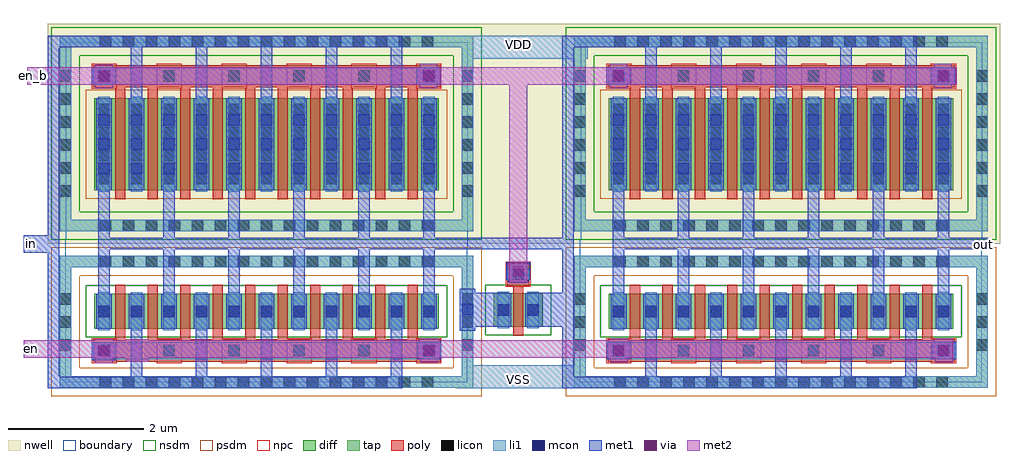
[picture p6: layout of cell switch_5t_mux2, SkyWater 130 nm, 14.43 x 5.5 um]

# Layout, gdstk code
from math import pi, radians
import gdstk
lib = gdstk.Library(unit=1e-6, precision=1e-09)
def R(c, l, rs):  # rectangles x0, y0, x1, y1
    for r in rs: c.add(gdstk.rectangle(r[:2], r[2:], *l))
def A(c, l, x, y, w, h, nx, ny, dx, dy):  # array of equal rectangles
    R(c, l, [(x+i*dx, y+j*dy, x+i*dx+w, y+j*dy+h) for i in range(nx) for j in range(ny)])
nwell = (64, 20)
diff = (65, 20)
tap = (65, 44)
poly = (66, 20)
licon = (66, 44)
li1 = (67, 20)
mcon = (67, 44)
met1 = (68, 20)
via = (68, 44)
met2 = (69, 20)
nsdm = (93, 44)
psdm = (94, 20)
npc = (95, 20)
boundary = (235, 4)

pmos_tgate = lib.new_cell('pmos_tgate')
R(pmos_tgate, nwell, [(-3.23,-1.78,3.24,1.47)])
R(pmos_tgate, diff, [(-2.54,-0.68,2.55,0.68)])
R(pmos_tgate, tap, [(-3.05,-1.6,3.06,-1.43), (-3.05,-1.43,-2.88,1.12), (2.89,-1.43,3.06,1.12), (-3.05,1.12,3.06,1.29)])
A(pmos_tgate, poly, -2.23, -0.84, 0.15, 1.65, 10, 1, 0.48, 0)
R(pmos_tgate, poly, [(-2.56,-1.17,2.57,-0.84)])
A(pmos_tgate, licon, -2.46, -1.6, 0.17, 0.17, 15, 2, 0.34, 2.72)
A(pmos_tgate, licon, -3.05, -1.09, 0.17, 0.17, 1, 6, 0, 0.34)
A(pmos_tgate, licon, -2.48, -1.09, 0.17, 0.17, 6, 1, 0.96, 0)
A(pmos_tgate, licon, 2.89, -1.09, 0.17, 0.17, 1, 6, 0, 0.34)
A(pmos_tgate, licon, -2.48, -0.595, 0.17, 0.17, 11, 4, 0.48, 0.34)
A(pmos_tgate, li1, -2.48, -0.7, 0.17, 1.4, 11, 1, 0.48, 0)
R(pmos_tgate, li1, [(-3.05,-1.6,3.06,-1.43), (-3.05,-1.43,-2.88,1.12), (2.89,-1.43,3.06,1.12), (-2.56,-1.13,2.57,-0.88), (-3.05,1.12,3.06,1.29)])
A(pmos_tgate, mcon, -2.48, -0.445, 0.17, 0.17, 11, 3, 0.48, 0.36)
A(pmos_tgate, met1, -2.51, -0.68, 0.23, 1.36, 11, 1, 0.48, 0)
R(pmos_tgate, nsdm, [(-3.175,-1.725,3.185,-1.305), (-3.175,-1.305,-2.755,0.995), (2.765,-1.305,3.185,0.995), (-3.175,0.995,3.185,1.415)])
R(pmos_tgate, psdm, [(-2.665,-0.805,2.675,0.805)])
A(pmos_tgate, npc, -2.58, -1.19, 0.37, 0.37, 6, 1, 0.96, 0)
R(pmos_tgate, boundary, [(-2.97,-1.51,2.97,1.51)])

nmos_tgate = lib.new_cell('nmos_tgate')
R(nmos_tgate, diff, [(-2.54,-0.26,2.55,0.26)])
R(nmos_tgate, tap, [(-3.05,-1.13,3.06,-0.96), (-3.05,-0.96,-2.88,0.65), (2.89,-0.96,3.06,0.65), (-3.05,0.65,3.06,0.82)])
A(nmos_tgate, poly, -2.23, -0.415, 0.15, 0.805, 10, 1, 0.48, 0)
R(nmos_tgate, poly, [(-2.56,-0.745,2.57,-0.415)])
A(nmos_tgate, licon, -2.46, -1.13, 0.17, 0.17, 15, 2, 0.34, 1.78)
A(nmos_tgate, licon, -2.48, -0.665, 0.17, 0.17, 6, 1, 0.96, 0)
A(nmos_tgate, licon, -3.05, -0.58, 0.17, 0.17, 1, 3, 0, 0.34)
A(nmos_tgate, licon, 2.89, -0.58, 0.17, 0.17, 1, 3, 0, 0.34)
A(nmos_tgate, licon, -2.48, -0.085, 0.17, 0.17, 11, 1, 0.48, 0)
A(nmos_tgate, li1, -2.48, -0.28, 0.17, 0.56, 11, 1, 0.48, 0)
R(nmos_tgate, li1, [(-3.05,-1.13,3.06,-0.96), (-3.05,-0.96,-2.88,0.65), (2.89,-0.96,3.06,0.65), (-2.56,-0.705,2.57,-0.455), (-3.05,0.65,3.06,0.82)])
A(nmos_tgate, mcon, -2.48, -0.085, 0.17, 0.17, 11, 1, 0.48, 0)
A(nmos_tgate, met1, -2.51, -0.26, 0.23, 0.52, 11, 1, 0.48, 0)
R(nmos_tgate, nsdm, [(-2.665,-0.385,2.675,0.385)])
R(nmos_tgate, psdm, [(-3.175,-1.255,3.185,-0.835), (-3.175,-0.835,-2.755,0.525), (2.765,-0.835,3.185,0.525), (-3.175,0.525,3.185,0.945)])
A(nmos_tgate, npc, -2.58, -0.765, 0.37, 0.37, 6, 1, 0.96, 0)
R(nmos_tgate, boundary, [(-2.97,-1.05,2.97,1.05)])

transmission_gate = lib.new_cell('transmission_gate')
R(transmission_gate, li1, [(5.855,-0.065,6.025,0.095), (0.405,0.36,0.485,0.61), (0.405,4.415,0.485,4.665), (5.855,4.965,6.025,5.135)])
A(transmission_gate, met1, 0.965, 0.095, 0.17, 0.805, 5, 2, 0.96, 4.065)
A(transmission_gate, met1, 0.485, 1.265, 0.17, 0.715, 6, 1, 0.96, 0)
A(transmission_gate, met1, 0.485, 2.15, 0.17, 0.89, 6, 1, 0.96, 0)
R(transmission_gate, met1, [(-0.265,-0.075,4.975,0.095), (-0.265,0.095,-0.095,4.965), (0.485,1.98,5.455,2.15), (-0.265,4.965,4.975,5.135)])
transmission_gate.add(gdstk.Reference(pmos_tgate, (2.975,3.535), rotation=pi))
transmission_gate.add(gdstk.Reference(nmos_tgate, (2.965,1.065)))
transmission_gate.add(gdstk.Label('in', (-0.17,2.05), layer=68, texttype=16))
transmission_gate.add(gdstk.Label('out', (5.37,2.06), layer=68, texttype=16))
transmission_gate.add(gdstk.Label('en', (0.44,0.49), layer=67, texttype=16))
transmission_gate.add(gdstk.Label('en_b', (0.44,4.55), layer=67, texttype=16))
transmission_gate.add(gdstk.Label('VDD', (5.94,5.05), layer=67, texttype=16))
transmission_gate.add(gdstk.Label('VSS', (5.94,0.01), layer=67, texttype=16))

nmos_pdn_mux2 = lib.new_cell('nmos_PDN_mux2')
R(nmos_pdn_mux2, diff, [(-0.365,-0.45,0.365,0.05)])
R(nmos_pdn_mux2, poly, [(-0.075,-0.58,0.075,0.16), (-0.165,0.16,0.165,0.49)])
R(nmos_pdn_mux2, licon, [(-0.305,-0.285,-0.135,-0.115), (0.135,-0.285,0.305,-0.115), (-0.085,0.24,0.085,0.41)])
R(nmos_pdn_mux2, li1, [(-0.305,-0.47,-0.135,0.07), (0.135,-0.47,0.305,0.07), (-0.165,0.24,0.165,0.41)])
R(nmos_pdn_mux2, mcon, [(-0.305,-0.285,-0.135,-0.115), (0.135,-0.285,0.305,-0.115), (-0.085,0.24,0.085,0.41)])
R(nmos_pdn_mux2, met1, [(-0.335,-0.45,-0.105,0.05), (0.105,-0.45,0.335,0.05), (-0.145,0.21,0.145,0.44)])
R(nmos_pdn_mux2, nsdm, [(-0.49,-0.575,0.49,0.175)])
R(nmos_pdn_mux2, npc, [(-0.185,0.14,0.185,0.51)])

switch_5t_mux2 = lib.new_cell('switch_5t_mux2')
R(switch_5t_mux2, nwell, [(7.135,2.34,9.01,4.53), (7.215,4.53,9.01,5.59)])
R(switch_5t_mux2, li1, [(6.84,0.2,8.83,0.37), (6.93,0.37,8.765,0.54), (1.56,0.675,1.73,0.845), (6.36,0.675,6.53,0.845), (9.165,0.675,9.335,0.845), (13.965,0.675,14.135,0.845), (6.93,1.115,7.1,1.615), (1.56,4.73,1.73,4.9), (6.36,4.73,6.53,4.9), (9.165,4.73,9.335,4.9), (13.965,4.73,14.135,4.9), (6.93,5.07,8.795,5.24), (6.93,5.24,8.835,5.41)])
R(switch_5t_mux2, mcon, [(1.56,0.675,1.73,0.845), (6.36,0.675,6.53,0.845), (9.165,0.675,9.335,0.845), (13.965,0.675,14.135,0.845), (6.93,1.28,7.1,1.45), (1.56,4.73,1.73,4.9), (6.36,4.73,6.53,4.9), (9.165,4.73,9.335,4.9), (13.965,4.73,14.135,4.9)])
R(switch_5t_mux2, met1, [(1.46,0.62,1.82,0.88), (6.27,0.63,6.63,0.89), (9.075,0.63,9.435,0.89), (13.875,0.63,14.235,0.89), (6.9,1.055,7.13,1.115), (6.9,1.115,7.63,1.615), (8.015,1.115,8.475,1.195), (7.9,1.195,8.475,1.23), (7.9,1.23,8.415,1.615), (6.9,1.615,7.13,1.675), (7.585,1.805,7.945,2.065), (0.46,2.205,0.935,2.465), (5.765,2.255,8.585,2.425), (13.795,2.255,14.71,2.425), (1.465,4.685,1.825,4.945), (6.26,4.69,6.62,4.95), (9.065,4.69,9.425,4.95), (13.865,4.69,14.225,4.95)])
R(switch_5t_mux2, via, [(1.565,0.675,1.715,0.825), (6.375,0.685,6.525,0.835), (9.18,0.685,9.33,0.835), (13.98,0.685,14.13,0.835), (7.69,1.86,7.84,2.01), (1.57,4.74,1.72,4.89), (6.365,4.745,6.515,4.895), (9.17,4.745,9.32,4.895), (13.97,4.745,14.12,4.895)])
R(switch_5t_mux2, met2, [(1.51,0.57,1.77,0.655), (6.32,0.58,6.58,0.655), (9.125,0.58,9.385,0.655), (13.925,0.58,14.185,0.655), (1.97,0.595,2.3,0.655), (0.46,0.655,14.185,0.915), (1.51,0.915,1.77,0.93), (1.97,0.915,2.3,0.925), (6.32,0.915,6.58,0.94), (9.125,0.915,9.385,0.94), (13.925,0.915,14.185,0.94), (7.635,1.755,7.895,4.69), (1.515,4.635,1.775,4.69), (6.31,4.64,6.57,4.69), (9.115,4.64,9.375,4.69), (13.915,4.64,14.175,4.69), (0.505,4.69,14.245,4.95), (1.515,4.95,1.775,4.995), (6.31,4.95,6.57,5), (9.115,4.95,9.375,5), (13.915,4.95,14.175,5)])
switch_5t_mux2.add(gdstk.Reference(transmission_gate, (8.68,0.275)))
switch_5t_mux2.add(gdstk.Reference(transmission_gate, (1.075,0.275)))
switch_5t_mux2.add(gdstk.Reference(nmos_pdn_mux2, (7.765,1.56)))
switch_5t_mux2.add(gdstk.Label('in', (0.57,2.345), layer=68, texttype=16))
switch_5t_mux2.add(gdstk.Label('out', (14.635,2.325), layer=68, texttype=16))
switch_5t_mux2.add(gdstk.Label('en', (0.57,0.79), layer=69, texttype=16))
switch_5t_mux2.add(gdstk.Label('en_b', (0.6,4.825), layer=69, texttype=16))
switch_5t_mux2.add(gdstk.Label('VDD', (7.765,5.28), layer=67, texttype=16))
switch_5t_mux2.add(gdstk.Label('VSS', (7.765,0.33), layer=67, texttype=16))

lib.write_gds('switch_5t_mux2.gds')
